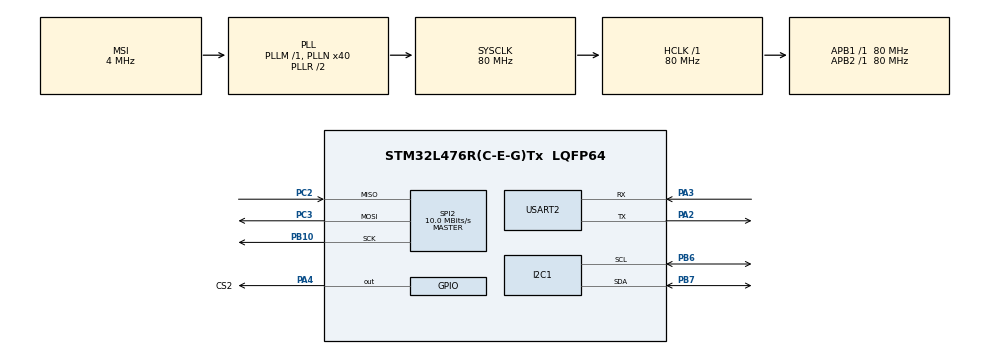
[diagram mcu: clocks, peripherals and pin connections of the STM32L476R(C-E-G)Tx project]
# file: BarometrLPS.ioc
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I2C1.Timing=0x10909CEC
Mcu.Family=STM32L4
Mcu.Name=STM32L476R(C-E-G)Tx
Mcu.Package=LQFP64
NVIC.PriorityGroup=NVIC_PRIORITYGROUP_4
PA13\ (JTMS-SWDIO).Mode=Serial_Wire
PA13\ (JTMS-SWDIO).Signal=SYS_JTMS-SWDIO
PA14\ (JTCK-SWCLK).Mode=Serial_Wire
PA14\ (JTCK-SWCLK).Signal=SYS_JTCK-SWCLK
PA2.Mode=Asynchronous
PA2.Signal=USART2_TX
PA3.Mode=Asynchronous
PA3.Signal=USART2_RX
PA4.GPIO_Label=CS2
PA4.GPIO_Speed=GPIO_SPEED_FREQ_HIGH
PA4.PinState=GPIO_PIN_SET
PA4.Signal=GPIO_Output
PB10.Mode=Full_Duplex_Master
PB10.Signal=SPI2_SCK
PB6.Mode=I2C
PB6.Signal=I2C1_SCL
PB7.Mode=I2C
PB7.Signal=I2C1_SDA
PC2.Mode=Full_Duplex_Master
PC2.Signal=SPI2_MISO
PC3.Mode=Full_Duplex_Master
PC3.Signal=SPI2_MOSI
ProjectManager.HeapSize=0x200
ProjectManager.StackSize=0x400
ProjectManager.TargetToolchain=STM32CubeIDE
RCC.AHBFreq_Value=80000000
RCC.APB1Freq_Value=80000000
RCC.APB1TimFreq_Value=80000000
RCC.APB2Freq_Value=80000000
RCC.APB2TimFreq_Value=80000000
RCC.CortexFreq_Value=80000000
RCC.HCLKFreq_Value=80000000
RCC.HSE_VALUE=8000000
RCC.HSI_VALUE=16000000
RCC.LSE_VALUE=32768
RCC.MSI_VALUE=4000000
RCC.PLLN=40
RCC.SYSCLKFreq_VALUE=80000000
RCC.SYSCLKSource=RCC_SYSCLKSOURCE_PLLCLK
RCC.VCOOutputFreq_Value=160000000
SPI2.BaudRatePrescaler=SPI_BAUDRATEPRESCALER_8
SPI2.CLKPhase=SPI_PHASE_1EDGE
SPI2.CalculateBaudRate=10.0 MBits/s
SPI2.Direction=SPI_DIRECTION_2LINES
SPI2.Mode=SPI_MODE_MASTER
SPI2.VirtualType=VM_MASTER
USART2.VirtualMode-Asynchronous=VM_ASYNC
board=custom

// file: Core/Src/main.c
/* USER CODE BEGIN Header */
/**
  ******************************************************************************
  * @file           : main.c
  * @brief          : Main program body
  ******************************************************************************
  * @attention
  *
  * Copyright (c) 2022 STMicroelectronics.
  * All rights reserved.
  *
  * This software is licensed under terms that can be found in the LICENSE file
  * in the root directory of this software component.
  * If no LICENSE file comes with this software, it is provided AS-IS.
  *
  ******************************************************************************
  */
/* USER CODE END Header */
#include "main.h"
#include "i2c.h"
#include "spi.h"
#include "usart.h"
#include "gpio.h"

/* USER CODE BEGIN Includes */
#include "uart_printf.h"
#include <stdio.h>
#include "LPS25HB.h"
/* USER CODE END Includes */

void SystemClock_Config(void);

int main(void)
{

  /* MCU Configuration--------------------------------------------------------*/

  /* Reset of all peripherals, Initializes the Flash interface and the Systick. */
  HAL_Init();

  /* Configure the system clock */
  SystemClock_Config();

  /* Initialize all configured peripherals */
  MX_GPIO_Init();
  MX_SPI2_Init();
  MX_USART2_UART_Init();
  MX_I2C1_Init();

  /* Infinite loop */
  /* USER CODE BEGIN WHILE */

  printf("Searching....\n");
  uint8_t reg = 0x0F;
  uint8_t who_am_i;

  HAL_GPIO_WritePin(CS2_GPIO_Port, CS2_Pin, GPIO_PIN_RESET);

  //Clear Bits
  	HAL_SPI_Transmit(&hspi2, 0xBF, 1, HAL_MAX_DELAY);
    HAL_SPI_Transmit(&hspi2, 0x03, 1, HAL_MAX_DELAY);

  //Set Bits
  HAL_SPI_Transmit(&hspi2, 0x9F, 1, HAL_MAX_DELAY);
  HAL_SPI_Transmit(&hspi2, 0x01, 1, HAL_MAX_DELAY);

  HAL_GPIO_WritePin(CS2_GPIO_Port, CS2_Pin, GPIO_PIN_SET);

  HAL_Delay(10);

  HAL_GPIO_WritePin(CS2_GPIO_Port, CS2_Pin, GPIO_PIN_RESET);

  HAL_SPI_Transmit(&hspi2, 0x1F, 1, HAL_MAX_DELAY);
  HAL_SPI_Receive(&hspi2, &who_am_i, 1, HAL_MAX_DELAY);

	  HAL_SPI_Transmit(&hspi2, 0x1F, 1, HAL_MAX_DELAY);
	  HAL_SPI_Receive(&hspi2, &who_am_i, 1, HAL_MAX_DELAY);

	  HAL_GPIO_WritePin(CS2_GPIO_Port, CS2_Pin, GPIO_PIN_SET);
	  printf("Odczyt 2: (0x%02X)\n", who_am_i);

  while (1)
  {
    /* USER CODE END WHILE */

  }
}

void SystemClock_Config(void)
{
  RCC_OscInitTypeDef RCC_OscInitStruct = {0};
  RCC_ClkInitTypeDef RCC_ClkInitStruct = {0};

  /** Configure the main internal regulator output voltage
  */
  if (HAL_PWREx_ControlVoltageScaling(PWR_REGULATOR_VOLTAGE_SCALE1) != HAL_OK)
  {
    Error_Handler();
  }
  /** Initializes the RCC Oscillators according to the specified parameters
  * in the RCC_OscInitTypeDef structure.
  */
  RCC_OscInitStruct.OscillatorType = RCC_OSCILLATORTYPE_MSI;
  RCC_OscInitStruct.MSIState = RCC_MSI_ON;
  RCC_OscInitStruct.MSICalibrationValue = 0;
  RCC_OscInitStruct.MSIClockRange = RCC_MSIRANGE_6;
  RCC_OscInitStruct.PLL.PLLState = RCC_PLL_ON;
  RCC_OscInitStruct.PLL.PLLSource = RCC_PLLSOURCE_MSI;
  RCC_OscInitStruct.PLL.PLLM = 1;
  RCC_OscInitStruct.PLL.PLLN = 40;
  RCC_OscInitStruct.PLL.PLLP = RCC_PLLP_DIV7;
  RCC_OscInitStruct.PLL.PLLQ = RCC_PLLQ_DIV2;
  RCC_OscInitStruct.PLL.PLLR = RCC_PLLR_DIV2;
  if (HAL_RCC_OscConfig(&RCC_OscInitStruct) != HAL_OK)
  {
    Error_Handler();
  }
  /** Initializes the CPU, AHB and APB buses clocks
  */
  RCC_ClkInitStruct.ClockType = RCC_CLOCKTYPE_HCLK|RCC_CLOCKTYPE_SYSCLK
                              |RCC_CLOCKTYPE_PCLK1|RCC_CLOCKTYPE_PCLK2;
  RCC_ClkInitStruct.SYSCLKSource = RCC_SYSCLKSOURCE_PLLCLK;
  RCC_ClkInitStruct.AHBCLKDivider = RCC_SYSCLK_DIV1;
  RCC_ClkInitStruct.APB1CLKDivider = RCC_HCLK_DIV1;
  RCC_ClkInitStruct.APB2CLKDivider = RCC_HCLK_DIV1;

  if (HAL_RCC_ClockConfig(&RCC_ClkInitStruct, FLASH_LATENCY_4) != HAL_OK)
  {
    Error_Handler();
  }
}

void Error_Handler(void)
{
  __disable_irq();
  while (1)
  {
  }
}
